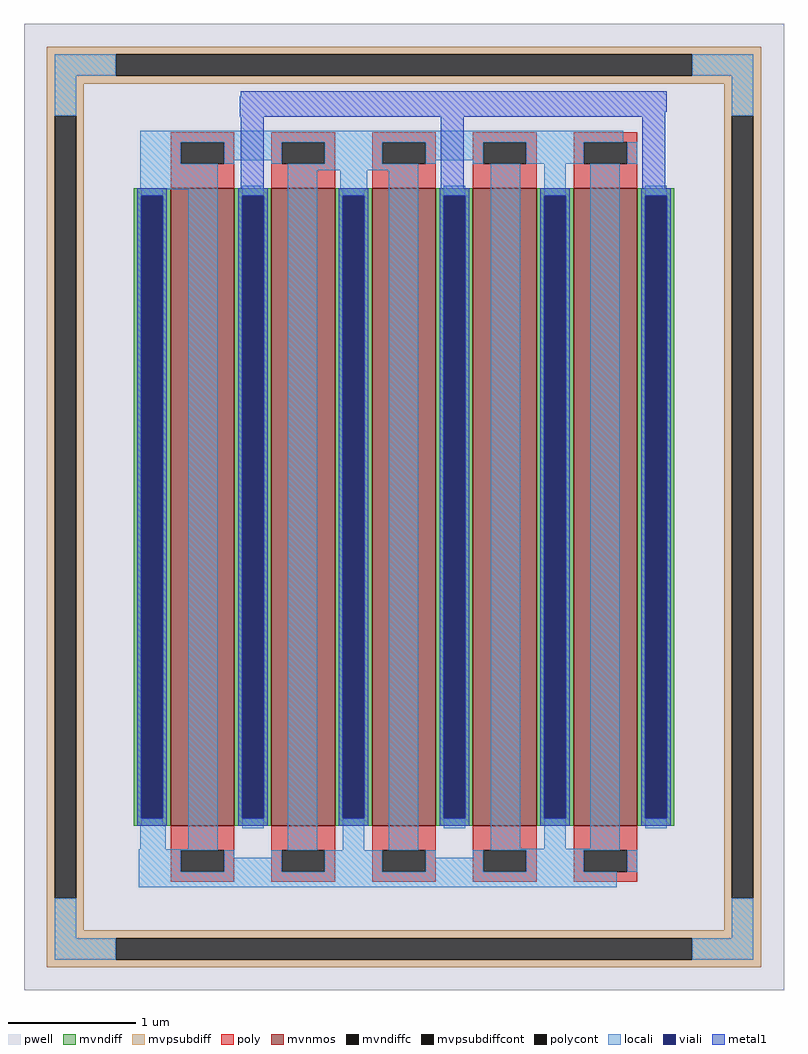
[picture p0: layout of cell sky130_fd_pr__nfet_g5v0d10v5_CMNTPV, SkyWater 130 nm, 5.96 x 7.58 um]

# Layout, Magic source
magic
tech sky130A
magscale 1 2
<< pwell >>
rect -596 -758 596 758
<< mvnmos >>
rect -366 -500 -266 500
rect -208 -500 -108 500
rect -50 -500 50 500
rect 108 -500 208 500
rect 266 -500 366 500
<< mvndiff >>
rect -424 488 -366 500
rect -424 -488 -412 488
rect -378 -488 -366 488
rect -424 -500 -366 -488
rect -266 488 -208 500
rect -266 -488 -254 488
rect -220 -488 -208 488
rect -266 -500 -208 -488
rect -108 488 -50 500
rect -108 -488 -96 488
rect -62 -488 -50 488
rect -108 -500 -50 -488
rect 50 488 108 500
rect 50 -488 62 488
rect 96 -488 108 488
rect 50 -500 108 -488
rect 208 488 266 500
rect 208 -488 220 488
rect 254 -488 266 488
rect 208 -500 266 -488
rect 366 488 424 500
rect 366 -488 378 488
rect 412 -488 424 488
rect 366 -500 424 -488
<< mvndiffc >>
rect -412 -488 -378 488
rect -254 -488 -220 488
rect -96 -488 -62 488
rect 62 -488 96 488
rect 220 -488 254 488
rect 378 -488 412 488
<< mvpsubdiff >>
rect -560 710 560 722
rect -560 676 -452 710
rect 452 676 560 710
rect -560 664 560 676
rect -560 614 -502 664
rect -560 -614 -548 614
rect -514 -614 -502 614
rect 502 614 560 664
rect -560 -664 -502 -614
rect 502 -614 514 614
rect 548 -614 560 614
rect 502 -664 560 -614
rect -560 -676 560 -664
rect -560 -710 -452 -676
rect 452 -710 560 -676
rect -560 -722 560 -710
<< mvpsubdiffcont >>
rect -452 676 452 710
rect -548 -614 -514 614
rect 514 -614 548 614
rect -452 -710 452 -676
<< poly >>
rect -366 572 -266 588
rect -366 538 -350 572
rect -282 538 -266 572
rect -366 500 -266 538
rect -208 572 -108 588
rect -208 538 -192 572
rect -124 538 -108 572
rect -208 500 -108 538
rect -50 572 50 588
rect -50 538 -34 572
rect 34 538 50 572
rect -50 500 50 538
rect 108 572 208 588
rect 108 538 124 572
rect 192 538 208 572
rect 108 500 208 538
rect 266 572 366 588
rect 266 538 282 572
rect 350 538 366 572
rect 266 500 366 538
rect -366 -538 -266 -500
rect -366 -572 -350 -538
rect -282 -572 -266 -538
rect -366 -588 -266 -572
rect -208 -538 -108 -500
rect -208 -572 -192 -538
rect -124 -572 -108 -538
rect -208 -588 -108 -572
rect -50 -538 50 -500
rect -50 -572 -34 -538
rect 34 -572 50 -538
rect -50 -588 50 -572
rect 108 -538 208 -500
rect 108 -572 124 -538
rect 192 -572 208 -538
rect 108 -588 208 -572
rect 266 -538 366 -500
rect 266 -572 282 -538
rect 350 -572 366 -538
rect 266 -588 366 -572
<< polycont >>
rect -350 538 -282 572
rect -192 538 -124 572
rect -34 538 34 572
rect 124 538 192 572
rect 282 538 350 572
rect -350 -572 -282 -538
rect -192 -572 -124 -538
rect -34 -572 34 -538
rect 124 -572 192 -538
rect 282 -572 350 -538
<< locali >>
rect -548 676 -452 710
rect 452 676 548 710
rect -548 614 -514 676
rect 514 614 548 676
rect -414 572 344 590
rect -414 538 -350 572
rect -282 544 -192 572
rect -282 538 -266 544
rect -208 538 -192 544
rect -124 538 -34 572
rect 34 544 124 572
rect 34 538 50 544
rect 108 538 124 544
rect 192 538 282 572
rect 350 538 366 572
rect -414 498 -292 538
rect -182 528 22 538
rect -412 488 -378 498
rect -412 -500 -378 -488
rect -414 -537 -374 -500
rect -338 -537 -292 498
rect -254 488 -220 504
rect -254 -504 -220 -488
rect -416 -538 -292 -537
rect -182 -538 -136 528
rect -100 498 -58 528
rect -96 488 -62 498
rect -96 -538 -62 -488
rect -24 -538 22 528
rect 62 488 96 504
rect 62 -504 96 -488
rect 136 -536 182 538
rect 220 488 254 538
rect 220 -536 254 -488
rect 292 -536 338 538
rect 378 488 412 504
rect 378 -504 412 -488
rect 136 -538 338 -536
rect -416 -572 -350 -538
rect -282 -550 -266 -538
rect -208 -550 -192 -538
rect -282 -572 -192 -550
rect -124 -572 -34 -538
rect 34 -550 50 -538
rect 108 -550 124 -538
rect 34 -572 124 -550
rect 192 -572 282 -538
rect 350 -572 366 -538
rect -416 -596 334 -572
rect -548 -676 -514 -614
rect 514 -676 548 -614
rect -548 -710 -452 -676
rect 452 -710 548 -676
<< viali >>
rect -412 -488 -378 488
rect -254 -488 -220 488
rect -96 -488 -62 488
rect 62 -488 96 488
rect 220 -488 254 488
rect 378 -488 412 488
<< metal1 >>
rect -256 644 412 652
rect -258 620 412 644
rect -258 612 410 620
rect -256 500 -220 612
rect 58 500 94 612
rect 374 500 410 612
rect -418 488 -372 500
rect -418 -488 -412 488
rect -378 -488 -372 488
rect -418 -500 -372 -488
rect -260 488 -214 500
rect -260 -488 -254 488
rect -220 -488 -214 488
rect -260 -500 -214 -488
rect -102 488 -56 500
rect -102 -488 -96 488
rect -62 -488 -56 488
rect -102 -500 -56 -488
rect 56 488 102 500
rect 56 -488 62 488
rect 96 -488 102 488
rect 56 -500 102 -488
rect 214 488 260 500
rect 214 -488 220 488
rect 254 -488 260 488
rect 214 -500 260 -488
rect 372 488 418 500
rect 372 -488 378 488
rect 412 -488 418 488
rect 372 -500 418 -488
<< properties >>
string FIXED_BBOX -531 -693 531 693
string gencell sky130_fd_pr__nfet_g5v0d10v5
string library sky130
string parameters w 5 l 0.50 m 1 nf 5 diffcov 100 polycov 100 guard 1 glc 1 grc 1 gtc 1 gbc 1 tbcov 100 rlcov 100 topc 1 botc 1 poverlap 0 doverlap 1 lmin 0.50 wmin 0.42 class mosfet compatible {sky130_fd_pr__nfet_01v8 sky130_fd_pr__nfet_01v8_lvt  sky130_fd_bs_flash__special_sonosfet_star  sky130_fd_pr__nfet_g5v0d10v5 sky130_fd_pr__nfet_05v0_nvt  sky130_fd_pr__nfet_03v3_nvt} full_metal 1 conn_gates 0 viasrc 100 viadrn 100 viagate 100 viagb 0 viagr 0 viagl 0 viagt 0 doports 1
<< end >>
